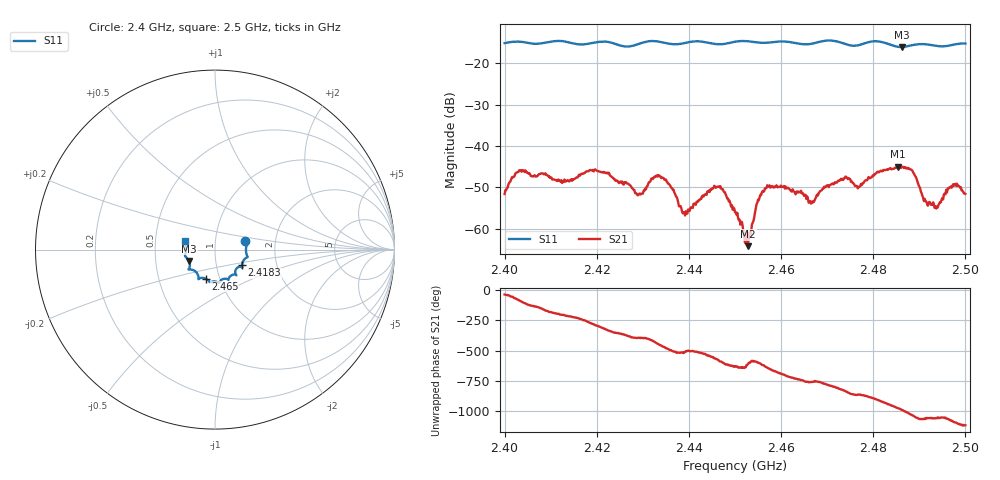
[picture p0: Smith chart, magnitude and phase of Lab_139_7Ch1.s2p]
# Hz S RI R 50
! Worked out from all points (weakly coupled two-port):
!   601 points, 2.4 GHz to 2.5 GHz, reference 50 ohm
!   highest |S21| = -44.97 dB at 2.4853 GHz (marker M1); lowest = -64.2 dB at 2.4528 GHz (marker M2)
!   lowest |S11| = -16.1 dB at 2.4862 GHz (marker M3), VSWR 1.37, Z = 37.1 - j4.82 ohm
!   |S11| at or under -10 dB: start of sweep to end of sweep
!   S12 and S22 are empty: the file has one direction only
!   S11 on the Smith chart (normalised r, x): 2.4 GHz: 1.40, +0.13; 2.4183 GHz: 1.33, -0.24; 2.465 GHz: 0.86, -0.29; 2.5 GHz: 0.71, +0.07
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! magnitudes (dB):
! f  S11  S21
! 2.4 GHz  -15.1  -51.6
! 2.4033 GHz  -14.8  -46.0
! 2.4167 GHz  -15.4  -46.7
! 2.4183 GHz  -15.2  -46.0
! 2.4292 GHz  -15.3  -51.6
! 2.4333 GHz  -14.7  -47.0
! 2.439 GHz  -15.1  -56.1
! 2.446 GHz  -15.4  -49.9
! 2.45 GHz  -14.8  -56.0
! 2.4528 GHz  -14.7  -64.2
! 2.455 GHz  -15.0  -53.0
! 2.457 GHz  -15.0  -49.5
! 2.465 GHz  -15.4  -52.1
! 2.4667 GHz  -15.3  -53.7
! 2.4735 GHz  -15.2  -48.2
! 2.4767 GHz  -15.6  -50.2
! 2.4833 GHz  -15.3  -45.6
! 2.4853 GHz  -16.0  -45.0
! 2.4862 GHz  -16.1  -45.1
! 2.4937 GHz  -15.8  -55.1
! 2.4973 GHz  -15.5  -49.3
! 2.5 GHz  -15.2  -51.6
